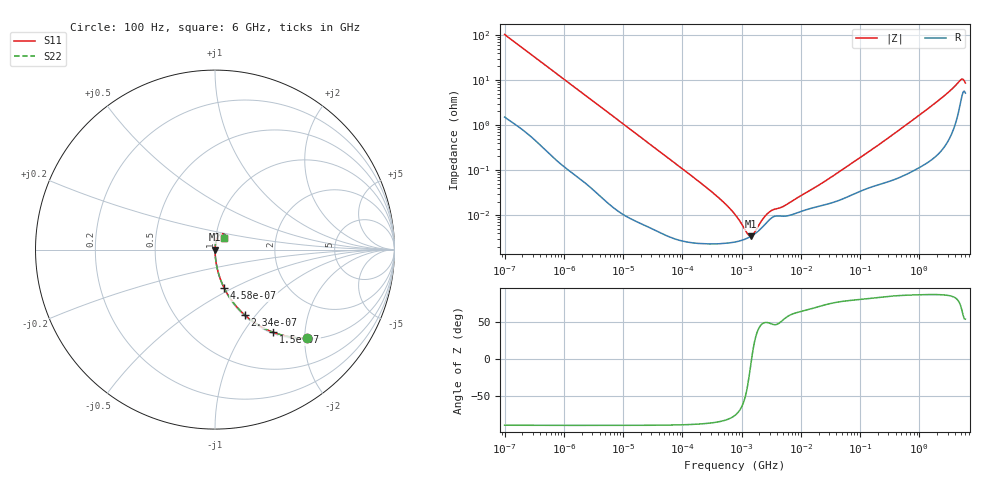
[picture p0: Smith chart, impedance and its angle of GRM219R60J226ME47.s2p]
!Murata Part Number: GRM219R60J226ME47
!These Parameters are Measured in Series Mode Connection
!Data Generated on Mar 30, 2021
!  o--ll--o
!Port1  Port2
!  o------o
!Operation Temp=25[degC], DC Bias Voltage=0[V]
!Freq. Start=100[Hz] Stop=6[GHz] 401[Steps]
# Hz S RI R 50
!Freq.(Hz) S11(Real) S11(Imag) S21(Real) S21(Imag) S12(Real) S12(Imag) S22(Real) S22(Imag)
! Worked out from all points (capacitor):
!   401 points, 100 Hz to 6 GHz, reference 50 ohm
!   read as one part in series: C = 15.5 uF near 109 Hz
!   lowest |Z| = 3.41 mohm at 1.45 MHz (marker M1)
!   series resonance near 1.478 MHz, so ESL is about 750 pH
!   S11 on the Smith chart (normalised r, x): 100 Hz: 1.03, -2.05; 150 Hz: 1.02, -1.38; 234 Hz: 1.01, -0.88; 458 Hz: 1.01, -0.45; 6 GHz: 1.10, +0.14
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100  0.5126 -0.4926  0.4874 0.4926  0.4874 0.4926  0.5126 -0.4926
150  0.324 -0.4605  0.676 0.4605  0.676 0.4605  0.324 -0.4605
234  0.1672 -0.3657  0.8328 0.3657  0.8328 0.3657  0.1672 -0.3657
458  0.0518 -0.215  0.9482 0.215  0.9482 0.215  0.0518 -0.215
897  0.0147 -0.1148  0.9853 0.1148  0.9853 0.1148  0.0147 -0.1148
2008  0.00333 -0.0522  0.9967 0.0522  0.9967 0.0522  0.00333 -0.0522
40335  4.87e-05 -0.00265  1 0.00265  1 0.00265  4.87e-05 -0.00265
316350  2.3e-05 -0.000324  1 0.000324  1 0.000324  2.3e-05 -0.000324
495019  2.34e-05 -0.000193  1 0.000193  1 0.000193  2.34e-05 -0.000193
774597  2.52e-05 -0.0001  1 0.0001  1 0.0001  2.52e-05 -0.0001
885955  2.62e-05 -7.74e-05  1 7.74e-05  1 7.74e-05  2.62e-05 -7.74e-05
1449809  3.4e-05 -2.7e-06  1 2.7e-06  1 2.7e-06  3.4e-05 -2.7e-06
2594782  6.6e-05 7.57e-05  0.9999 -7.57e-05  0.9999 -7.57e-05  6.6e-05 7.57e-05
3394479  9.07e-05 9.47e-05  0.9999 -9.47e-05  0.9999 -9.47e-05  9.07e-05 9.47e-05
5311619  9.46e-05 0.00013  0.9999 -0.00013  0.9999 -0.00013  9.46e-05 0.00013
1.555665e7  0.000144 0.000349  0.9999 -0.000349  0.9999 -0.000349  0.000144 0.000349
3.64232e7  0.000195 0.000742  0.9998 -0.000742  0.9998 -0.000742  0.000195 0.000742
3.124326e8  0.000589 0.00535  0.9994 -0.00535  0.9994 -0.00535  0.000589 0.00535
2.048624e9  0.00335 0.0338  0.9967 -0.0338  0.9967 -0.0338  0.00335 0.0338
4.796499e9  0.0323 0.0869  0.9677 -0.0869  0.9677 -0.0869  0.0323 0.0869
5.245841e9  0.0501 0.0868  0.9499 -0.0868  0.9499 -0.0868  0.0501 0.0868
6e9  0.0528 0.0619  0.9472 -0.0619  0.9472 -0.0619  0.0528 0.0619
